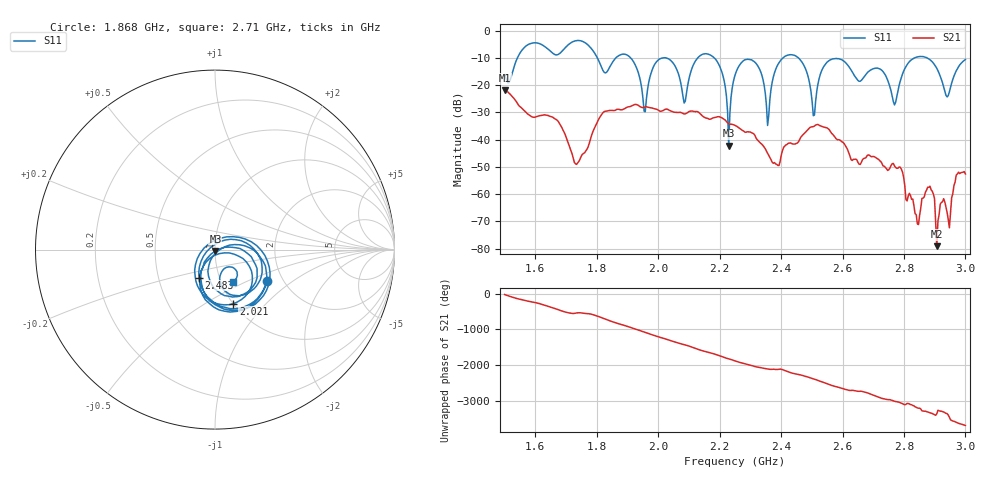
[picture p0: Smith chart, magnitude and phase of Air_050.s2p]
# HZ S RI R 50
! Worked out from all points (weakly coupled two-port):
!   404 points, 1.5 GHz to 3 GHz, reference 50 ohm
!   highest |S21| = -21.97 dB at 1.5 GHz (marker M1); lowest = -79.1 dB at 2.907 GHz (marker M2)
!   lowest |S11| = -42.2 dB at 2.23 GHz (marker M3), VSWR 1.02, Z = 50.2 - j0.741 ohm
!   |S11| at or under -10 dB: 2.182 GHz to 2.406 GHz (224 MHz wide, 9.76 % of centre); 2.457 GHz to 2.835 GHz (378.3 MHz wide, 14.3 % of centre); 2.875 GHz to end of sweep (the widest 3 of 7)
!   S12 and S22 are empty: the file has one direction only
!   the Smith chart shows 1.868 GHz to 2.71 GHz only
!   S11 on the Smith chart (normalised r, x): 1.868 GHz: 1.66, -0.65; 2.021 GHz: 1.00, -0.67; 2.483 GHz: 0.80, -0.26; 2.71 GHz: 1.14, -0.43
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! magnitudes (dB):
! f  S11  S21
! 1.5 GHz  -16.1  -22.0
! 1.753 GHz  -3.9  -45.4
! 1.868 GHz  -9.4  -28.9
! 1.958 GHz  -29.8  -28.0
! 2.002 GHz  -10.6  -29.3
! 2.021 GHz  -9.9  -29.0
! 2.084 GHz  -26.6  -30.6
! 2.177 GHz  -9.5  -32.1
! 2.23 GHz  -42.2  -34.2
! 2.252 GHz  -15.7  -34.9
! 2.315 GHz  -11.6  -38.5
! 2.356 GHz  -34.8  -45.0
! 2.386 GHz  -13.3  -49.1
! 2.483 GHz  -14.9  -36.9
! 2.501 GHz  -26.2  -35.3
! 2.561 GHz  -10.7  -37.0
! 2.71 GHz  -13.8  -46.7
! 2.751 GHz  -19.3  -51.1
! 2.885 GHz  -10.7  -57.1
! 2.907 GHz  -13.9  -79.1
! 2.94 GHz  -24.3  -66.7
! 3 GHz  -10.6  -52.6
